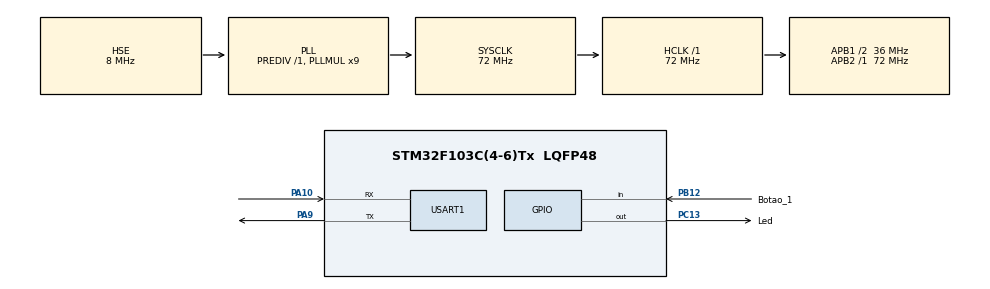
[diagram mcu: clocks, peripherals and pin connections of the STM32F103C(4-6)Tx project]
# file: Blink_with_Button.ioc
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Mcu.Family=STM32F1
Mcu.Name=STM32F103C(4-6)Tx
Mcu.Package=LQFP48
NVIC.PriorityGroup=NVIC_PRIORITYGROUP_4
PA10.Mode=Asynchronous
PA10.Signal=USART1_RX
PA13.Mode=Serial_Wire
PA13.Signal=SYS_JTMS-SWDIO
PA14.Mode=Serial_Wire
PA14.Signal=SYS_JTCK-SWCLK
PA9.Mode=Asynchronous
PA9.Signal=USART1_TX
PB12.GPIO_Label=Botao_1
PB12.GPIO_PuPd=GPIO_PULLUP
PB12.Signal=GPIO_Input
PC13-TAMPER-RTC.GPIO_Label=Led
PC13-TAMPER-RTC.GPIO_Speed=GPIO_SPEED_FREQ_MEDIUM
PC13-TAMPER-RTC.Signal=GPIO_Output
PD0-OSC_IN.Mode=HSE-External-Oscillator
PD0-OSC_IN.Signal=RCC_OSC_IN
PD1-OSC_OUT.Mode=HSE-External-Oscillator
PD1-OSC_OUT.Signal=RCC_OSC_OUT
ProjectManager.HeapSize=0x200
ProjectManager.StackSize=0x400
ProjectManager.TargetToolchain=STM32CubeIDE
RCC.AHBFreq_Value=72000000
RCC.APB1CLKDivider=RCC_HCLK_DIV2
RCC.APB1Freq_Value=36000000
RCC.APB1TimFreq_Value=72000000
RCC.APB2Freq_Value=72000000
RCC.APB2TimFreq_Value=72000000
RCC.HCLKFreq_Value=72000000
RCC.PLLMUL=RCC_PLL_MUL9
RCC.PLLSourceVirtual=RCC_PLLSOURCE_HSE
RCC.SYSCLKFreq_VALUE=72000000
RCC.SYSCLKSource=RCC_SYSCLKSOURCE_PLLCLK
RCC.USBFreq_Value=72000000
USART1.VirtualMode=VM_ASYNC
board=custom

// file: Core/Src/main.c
/* USER CODE BEGIN Header */
/**
  ******************************************************************************
  * @file           : main.c
  * @brief          : Main program body
  ******************************************************************************
  * @attention
  *
  * Copyright (c) 2026 STMicroelectronics.
  * All rights reserved.
  *
  * This software is licensed under terms that can be found in the LICENSE file
  * in the root directory of this software component.
  * If no LICENSE file comes with this software, it is provided AS-IS.
  *
  ******************************************************************************
  */
/* USER CODE END Header */
#include "main.h"

/* USER CODE BEGIN Includes */
#include "stdio.h"
#include "string.h"
/* USER CODE END Includes */

/* USER CODE BEGIN PTD */
typedef enum {
	Botao_Pressionado = 1,
	Botao_Nao_Pressionado = 0
}ButtonState;

typedef enum {
	Led_Ligado = 0, // aqui esta invertido pois o LED está com pull-up e o comando do pino == 1 drena a tensao apagando o LED
	Led_Desligado = 1
}LedState;

/* USER CODE END PTD */

/* USER CODE BEGIN PD */
#define pi = 3.14 // exemplo de criação de um define
#define Cte_Estrutura_Fina = 0.00729927007299270072992700729927

/* USER CODE END PD */

UART_HandleTypeDef huart1;

/* USER CODE BEGIN PV */
uint8_t contador = 0;  //Variáveis GLOBAIS declaradas pelo usuário
char mensagem[50];
ButtonState Bt1_State;
ButtonState EstadoAnterior;
LedState Status_LED;

/* USER CODE END PV */

void SystemClock_Config(void);
static void MX_GPIO_Init(void);
static void MX_USART1_UART_Init(void);

int main(void)
{

  /* MCU Configuration--------------------------------------------------------*/

  /* Reset of all peripherals, Initializes the Flash interface and the Systick. */
  HAL_Init();

  /* Configure the system clock */
  SystemClock_Config();

  /* Initialize all configured peripherals */
  MX_GPIO_Init();
  MX_USART1_UART_Init();

  /* Infinite loop */
  while (1)
  {

    /* USER CODE BEGIN 3 */
    if(HAL_GPIO_ReadPin(Botao_1_GPIO_Port, Botao_1_Pin) == GPIO_PIN_RESET) // Verifica se o botão foi pressionado
    {
    	Bt1_State = Botao_Pressionado;
    	HAL_Delay(50);
    }
		else     if(HAL_GPIO_ReadPin(Botao_1_GPIO_Port, Botao_1_Pin) == GPIO_PIN_SET) // Verifica se o botão foi pressionado
		{
			Bt1_State = Botao_Nao_Pressionado;
			HAL_Delay(50);
		}

    if((Bt1_State==Botao_Pressionado) && (EstadoAnterior==Botao_Nao_Pressionado)){
    		Status_LED = Led_Ligado;
    		HAL_GPIO_WritePin(Led_GPIO_Port, Led_Pin, Led_Ligado);
    		sprintf(mensagem, "BOTAO PRESIONADO E LED LIGADO\r\n"); // Prepara a mensagem a ser enviada
        	HAL_UART_Transmit(&huart1, (uint8_t*)mensagem, strlen(mensagem), HAL_MAX_DELAY); // Envia a mensagem via UART
        	EstadoAnterior = Botao_Pressionado;

    }
    else  if((Bt1_State==Botao_Nao_Pressionado) && (EstadoAnterior==Botao_Pressionado)){
    	Status_LED = Led_Desligado;
		HAL_GPIO_WritePin(Led_GPIO_Port, Led_Pin, Led_Desligado);
		sprintf(mensagem, "BOTAO NAO PRESIONADO E LED DESLIGADO\r\n"); // Prepara a mensagem a ser enviada
    	HAL_UART_Transmit(&huart1, (uint8_t*)mensagem, strlen(mensagem), HAL_MAX_DELAY); // Envia a mensagem via UART
    	EstadoAnterior = Botao_Nao_Pressionado;
    }

		contador++;
    	sprintf(mensagem, "Contador: %d\r\n", contador); // Prepara a mensagem a ser enviada
    	HAL_UART_Transmit(&huart1, (uint8_t*)mensagem, strlen(mensagem), HAL_MAX_DELAY); // Envia a mensagem via UART
    	HAL_Delay(250);

  }//FIM do While TRUE
  /* USER CODE END 3 */
}

void SystemClock_Config(void)
{
  RCC_OscInitTypeDef RCC_OscInitStruct = {0};
  RCC_ClkInitTypeDef RCC_ClkInitStruct = {0};

  /** Initializes the RCC Oscillators according to the specified parameters
  * in the RCC_OscInitTypeDef structure.
  */
  RCC_OscInitStruct.OscillatorType = RCC_OSCILLATORTYPE_HSE;
  RCC_OscInitStruct.HSEState = RCC_HSE_ON;
  RCC_OscInitStruct.HSEPredivValue = RCC_HSE_PREDIV_DIV1;
  RCC_OscInitStruct.HSIState = RCC_HSI_ON;
  RCC_OscInitStruct.PLL.PLLState = RCC_PLL_ON;
  RCC_OscInitStruct.PLL.PLLSource = RCC_PLLSOURCE_HSE;
  RCC_OscInitStruct.PLL.PLLMUL = RCC_PLL_MUL9;
  if (HAL_RCC_OscConfig(&RCC_OscInitStruct) != HAL_OK)
  {
    Error_Handler();
  }

  /** Initializes the CPU, AHB and APB buses clocks
  */
  RCC_ClkInitStruct.ClockType = RCC_CLOCKTYPE_HCLK|RCC_CLOCKTYPE_SYSCLK
                              |RCC_CLOCKTYPE_PCLK1|RCC_CLOCKTYPE_PCLK2;
  RCC_ClkInitStruct.SYSCLKSource = RCC_SYSCLKSOURCE_PLLCLK;
  RCC_ClkInitStruct.AHBCLKDivider = RCC_SYSCLK_DIV1;
  RCC_ClkInitStruct.APB1CLKDivider = RCC_HCLK_DIV2;
  RCC_ClkInitStruct.APB2CLKDivider = RCC_HCLK_DIV1;

  if (HAL_RCC_ClockConfig(&RCC_ClkInitStruct, FLASH_LATENCY_2) != HAL_OK)
  {
    Error_Handler();
  }
}

static void MX_USART1_UART_Init(void)
{

  huart1.Instance = USART1;
  huart1.Init.BaudRate = 115200;
  huart1.Init.WordLength = UART_WORDLENGTH_8B;
  huart1.Init.StopBits = UART_STOPBITS_1;
  huart1.Init.Parity = UART_PARITY_NONE;
  huart1.Init.Mode = UART_MODE_TX_RX;
  huart1.Init.HwFlowCtl = UART_HWCONTROL_NONE;
  huart1.Init.OverSampling = UART_OVERSAMPLING_16;
  if (HAL_UART_Init(&huart1) != HAL_OK)
  {
    Error_Handler();
  }

}

static void MX_GPIO_Init(void)
{
  GPIO_InitTypeDef GPIO_InitStruct = {0};

  /* GPIO Ports Clock Enable */
  __HAL_RCC_GPIOC_CLK_ENABLE();
  __HAL_RCC_GPIOD_CLK_ENABLE();
  __HAL_RCC_GPIOB_CLK_ENABLE();
  __HAL_RCC_GPIOA_CLK_ENABLE();

  /*Configure GPIO pin Output Level */
  HAL_GPIO_WritePin(Led_GPIO_Port, Led_Pin, GPIO_PIN_RESET);

  /*Configure GPIO pin : Led_Pin */
  GPIO_InitStruct.Pin = Led_Pin;
  GPIO_InitStruct.Mode = GPIO_MODE_OUTPUT_PP;
  GPIO_InitStruct.Pull = GPIO_NOPULL;
  GPIO_InitStruct.Speed = GPIO_SPEED_FREQ_MEDIUM;
  HAL_GPIO_Init(Led_GPIO_Port, &GPIO_InitStruct);

  /*Configure GPIO pin : Botao_1_Pin */
  GPIO_InitStruct.Pin = Botao_1_Pin;
  GPIO_InitStruct.Mode = GPIO_MODE_INPUT;
  GPIO_InitStruct.Pull = GPIO_PULLUP;
  HAL_GPIO_Init(Botao_1_GPIO_Port, &GPIO_InitStruct);

}

void Error_Handler(void)
{
  __disable_irq();
  while (1)
  {
  }
}
